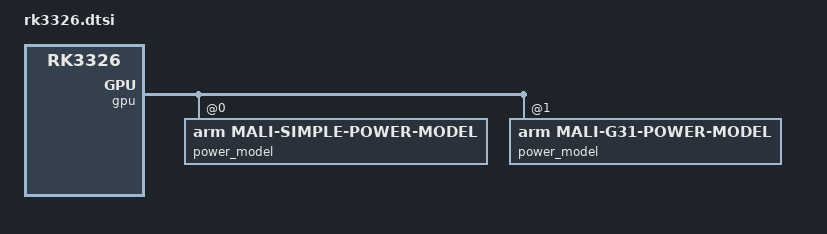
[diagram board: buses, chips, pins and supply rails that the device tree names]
// SPDX-License-Identifier: (GPL-2.0+ OR MIT)
/*
 * Copyright (c) 2020 Fuzhou Rockchip Electronics Co., Ltd
 */

#include "px30.dtsi"

/ {
	reserved-memory {
		#address-cells = <2>;
		#size-cells = <2>;
		ranges;

		linux,cma {
			compatible = "shared-dma-pool";
			reusable;
			size = <0x0 0x4000000>;	/* 64 MiB */
			linux,cma-default;
		};
	};
};

&display_subsystem {
	ports = <&vopb_out>;
};

/delete-node/ &dsi_in_vopl;
/delete-node/ &lvds_vopl_in;
/delete-node/ &vopl;
/delete-node/ &vopl_mmu;

&cpu0_opp_table {
	/delete-node/ opp-600000000;
	/delete-node/ opp-816000000;
	/delete-node/ opp-1200000000;

	opp-1416000000 {
		opp-hz = /bits/ 64 <1416000000>;
		opp-microvolt = <1350000 1350000 1350000>;
		clock-latency-ns = <40000>;
		turbo-mode;
	};
};

&gpu_opp_table {
	/delete-node/ opp-200000000;
	/delete-node/ opp-300000000;
	/delete-node/ opp-400000000;
	/delete-node/ opp-480000000;

	opp-560000000 {
		opp-hz = /bits/ 64 <560000000>;
		opp-microvolt = <1150000>;
	};
};

&gpu {
	clock-names = "bus";
	resets = <&cru SRST_GPU>;
	power_policy = "coarse_demand";

	power_model@0 {
		compatible = "arm,mali-simple-power-model";
		static-coefficient = <100000>;
		dynamic-coefficient = <953>;
		ts = <(-108890) 63610 (-1355) 20>;
		thermal-zone = "gpu-thermal";
	};

	power_model@1 {
		compatible = "arm,mali-g31-power-model";
		scale = <5>;
	};
};

&usb20_otg {
	usb-role-switch;
	role-switch-default-mode = "host";
};
